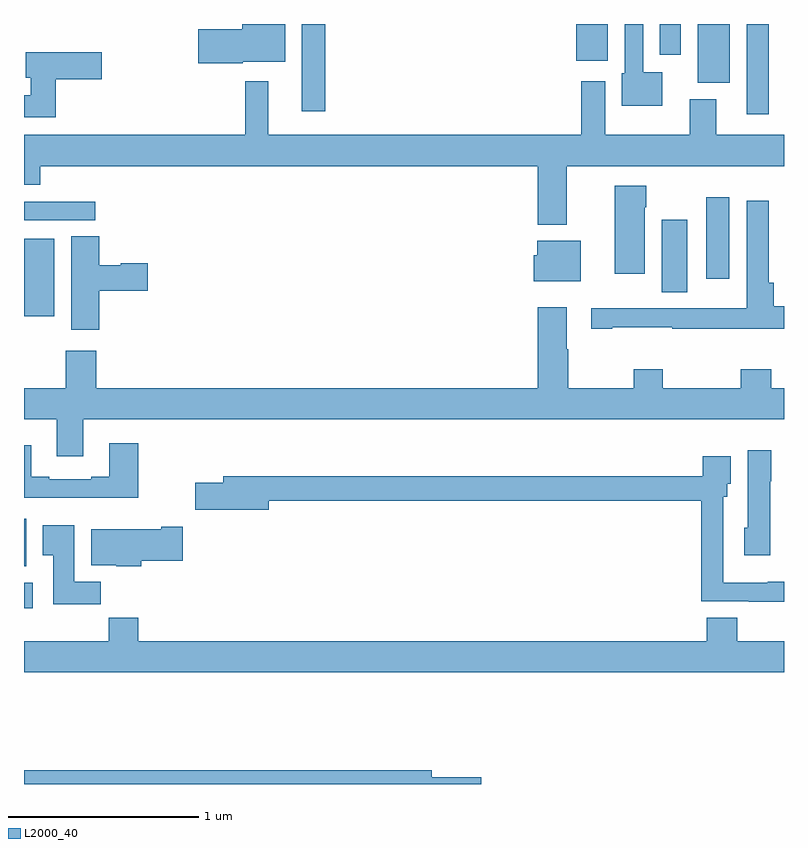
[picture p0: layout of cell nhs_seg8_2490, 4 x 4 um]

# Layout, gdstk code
import gdstk
lib = gdstk.Library(unit=1e-6, precision=1e-09)
def R(c, l, rs):  # rectangles x0, y0, x1, y1
    for r in rs: c.add(gdstk.rectangle(r[:2], r[2:], *l))
def P(c, l, *ps):  # polygons
    for p in ps: c.add(gdstk.Polygon(p, *l))
L2000_40 = (2000, 40)

nhs_seg8_2490 = lib.new_cell('nhs_seg8_2490')
R(nhs_seg8_2490, L2000_40, [(267,1128.824,267.046,1128.958), (267,1129.046,267.013,1129.296), (267,1130.363,267.16,1130.77), (270.356,1130.488,270.49,1130.869), (270.59,1130.559,270.712,1130.989), (267,1130.868,267.376,1130.964), (270.804,1131.426,270.92,1131.9), (268.463,1131.441,268.585,1131.9), (270.545,1131.59,270.715,1131.9), (269.906,1131.707,270.073,1131.9), (270.347,1131.738,270.457,1131.9)])
P(nhs_seg8_2490, L2000_40, [(268.152,1131.701),(268.375,1131.701),(268.375,1131.9),(268.148,1131.9),(268.148,1131.872),(267.918,1131.872),(267.918,1131.694),(268.152,1131.694)],
  [(270.358,1131.646),(270.258,1131.646),(270.258,1131.9),(270.162,1131.9),(270.162,1131.642),(270.146,1131.642),(270.146,1131.47),(270.358,1131.47)],
  [(267.167,1131.61),(267.409,1131.61),(267.409,1131.752),(267.008,1131.752),(267.008,1131.617),(267.035,1131.617),(267.035,1131.524),(267,1131.524),(267,1131.408),(267.167,1131.408)],
  [(269.857,1131.152),(271,1131.152),(271,1131.316),(270.643,1131.316),(270.643,1131.505),(270.503,1131.505),(270.503,1131.316),(270.058,1131.316),(270.058,1131.598),(269.933,1131.598),(269.933,1131.316),(268.285,1131.316),(268.285,1131.598),(268.164,1131.598),(268.164,1131.316),(267,1131.316),(267,1131.053),(267.086,1131.053),(267.086,1131.152),(269.705,1131.152),(269.705,1130.843),(269.857,1130.843)],
  [(270.268,1130.936),(270.276,1130.936),(270.276,1131.049),(270.11,1131.049),(270.11,1130.586),(270.268,1130.586)],
  [(270.097,1130.305),(270.413,1130.305),(270.413,1130.295),(270.828,1130.295),(270.828,1130.297),(271,1130.297),(271,1130.414),(270.947,1130.414),(270.947,1130.539),(270.92,1130.539),(270.92,1130.971),(270.804,1130.971),(270.804,1130.404),(270.594,1130.404),(270.594,1130.403),(270.26,1130.403),(270.26,1130.405),(269.985,1130.405),(269.985,1130.295),(270.097,1130.295)],
  [(267.395,1130.495),(267.652,1130.495),(267.652,1130.642),(267.509,1130.642),(267.509,1130.629),(267.395,1130.629),(267.395,1130.783),(267.248,1130.783),(267.248,1130.292),(267.395,1130.292)],
  [(269.929,1130.758),(269.702,1130.758),(269.702,1130.682),(269.684,1130.682),(269.684,1130.546),(269.929,1130.546)],
  [(267.313,1129.82),(271,1129.82),(271,1129.984),(270.932,1129.984),(270.932,1130.083),(270.772,1130.083),(270.772,1129.984),(270.363,1129.984),(270.363,1130.083),(270.208,1130.083),(270.208,1129.984),(269.865,1129.984),(269.865,1130.189),(269.857,1130.189),(269.857,1130.41),(269.705,1130.41),(269.705,1129.984),(267.38,1129.984),(267.38,1130.179),(267.22,1130.179),(267.22,1129.984),(267,1129.984),(267,1129.82),(267.173,1129.82),(267.173,1129.626),(267.313,1129.626)],
  [(267.602,1129.693),(267.449,1129.693),(267.449,1129.516),(267.353,1129.516),(267.353,1129.503),(267.133,1129.503),(267.133,1129.516),(267.037,1129.516),(267.037,1129.684),(267,1129.684),(267,1129.406),(267.602,1129.406)],
  [(270.928,1129.494),(270.934,1129.494),(270.934,1129.657),(270.809,1129.657),(270.809,1129.248),(270.791,1129.248),(270.791,1129.104),(270.928,1129.104)],
  [(271,1128.964),(270.915,1128.964),(270.915,1128.958),(270.681,1128.958),(270.681,1129.413),(270.7,1129.413),(270.7,1129.479),(270.721,1129.479),(270.721,1129.624),(270.572,1129.624),(270.572,1129.519),(268.049,1129.519),(268.049,1129.485),(267.9,1129.485),(267.9,1129.343),(268.288,1129.343),(268.288,1129.39),(270.565,1129.39),(270.565,1128.861),(270.815,1128.861),(270.815,1128.86),(271,1128.86)],
  [(267.404,1128.964),(267.265,1128.964),(267.265,1129.261),(267.098,1129.261),(267.098,1129.105),(267.155,1129.105),(267.155,1128.846),(267.404,1128.846)],
  [(267.617,1129.075),(267.835,1129.075),(267.835,1129.253),(267.722,1129.253),(267.722,1129.24),(267.353,1129.24),(267.353,1129.052),(267.486,1129.052),(267.486,1129.046),(267.617,1129.046)],
  [(271,1128.652),(270.753,1128.652),(270.753,1128.776),(270.593,1128.776),(270.593,1128.652),(267.602,1128.652),(267.602,1128.776),(267.445,1128.776),(267.445,1128.652),(267,1128.652),(267,1128.488),(271,1128.488)],
  [(269.407,1127.936),(269.146,1127.936),(269.146,1127.972),(267,1127.972),(267,1127.9),(269.407,1127.9)])

lib.write_gds('nhs_seg8_2490.gds')
